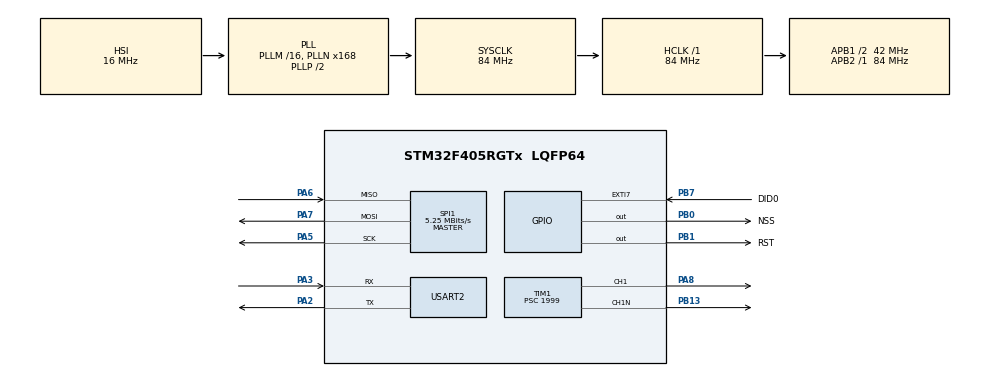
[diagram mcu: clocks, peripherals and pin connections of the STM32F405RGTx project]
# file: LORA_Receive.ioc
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Mcu.Family=STM32F4
Mcu.Name=STM32F405RGTx
Mcu.Package=LQFP64
NVIC.EXTI9_5_IRQn=true\:0\:0\:false\:false\:true\:true\:true\:true
NVIC.PriorityGroup=NVIC_PRIORITYGROUP_4
NVIC.USART2_IRQn=true\:1\:0\:true\:false\:true\:true\:true\:true
PA13.Mode=Serial_Wire
PA13.Signal=SYS_JTMS-SWDIO
PA14.Mode=Serial_Wire
PA14.Signal=SYS_JTCK-SWCLK
PA2.Mode=Asynchronous
PA2.Signal=USART2_TX
PA3.Mode=Asynchronous
PA3.Signal=USART2_RX
PA5.Mode=Full_Duplex_Master
PA5.Signal=SPI1_SCK
PA6.Mode=Full_Duplex_Master
PA6.Signal=SPI1_MISO
PA7.Mode=Full_Duplex_Master
PA7.Signal=SPI1_MOSI
PA8.Signal=S_TIM1_CH1
PB0.GPIO_Label=NSS
PB0.PinState=GPIO_PIN_SET
PB0.Signal=GPIO_Output
PB1.GPIO_Label=RST
PB1.PinState=GPIO_PIN_SET
PB1.Signal=GPIO_Output
PB13.Mode=PWM Generation1 CH1 CH1N
PB13.Signal=TIM1_CH1N
PB7.GPIO_Label=DID0
PB7.Signal=GPXTI7
PH0-OSC_IN.Mode=HSE-External-Oscillator
PH0-OSC_IN.Signal=RCC_OSC_IN
PH1-OSC_OUT.Mode=HSE-External-Oscillator
PH1-OSC_OUT.Signal=RCC_OSC_OUT
ProjectManager.HeapSize=0x200
ProjectManager.StackSize=0x400
ProjectManager.TargetToolchain=STM32CubeIDE
RCC.48MHZClocksFreq_Value=42000000
RCC.AHBFreq_Value=84000000
RCC.APB1CLKDivider=RCC_HCLK_DIV2
RCC.APB1Freq_Value=42000000
RCC.APB1TimFreq_Value=84000000
RCC.APB2Freq_Value=84000000
RCC.APB2TimFreq_Value=84000000
RCC.CortexFreq_Value=84000000
RCC.HCLKFreq_Value=84000000
RCC.HSE_VALUE=25000000
RCC.HSI_VALUE=16000000
RCC.LSE_VALUE=32768
RCC.PLLN=168
RCC.SYSCLKFreq_VALUE=84000000
RCC.SYSCLKSource=RCC_SYSCLKSOURCE_PLLCLK
RCC.VCOOutputFreq_Value=168000000
SH.S_TIM1_CH1.0=TIM1_CH1,PWM Generation1 CH1 CH1N
SPI1.BaudRatePrescaler=SPI_BAUDRATEPRESCALER_16
SPI1.CRCCalculation=SPI_CRCCALCULATION_DISABLE
SPI1.CalculateBaudRate=5.25 MBits/s
SPI1.Direction=SPI_DIRECTION_2LINES
SPI1.Mode=SPI_MODE_MASTER
SPI1.VirtualType=VM_MASTER
TIM1.AutoReloadPreload=TIM_AUTORELOAD_PRELOAD_ENABLE
TIM1.AutomaticOutput=TIM_AUTOMATICOUTPUT_ENABLE
TIM1.Channel-PWM\ Generation1\ CH1\ CH1N=TIM_CHANNEL_1
TIM1.DeadTime=100
TIM1.Period=41999
TIM1.Prescaler=1999
USART2.VirtualMode=VM_ASYNC
VP_TIM1_VS_ClockSourceINT.Mode=Internal
board=custom

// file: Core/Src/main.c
/* USER CODE BEGIN Header */
/**
  ******************************************************************************
  * @file           : main.c
  * @brief          : Main program body
  ******************************************************************************
  * @attention
  *
  * Copyright (c) 2026 STMicroelectronics.
  * All rights reserved.
  *
  * This software is licensed under terms that can be found in the LICENSE file
  * in the root directory of this software component.
  * If no LICENSE file comes with this software, it is provided AS-IS.
  *
  ******************************************************************************
  */
/* USER CODE END Header */
#include "main.h"

/* USER CODE BEGIN Includes */
#include "LoRa.h"
#include <stdio.h>
#include <string.h>
/* USER CODE END Includes */

SPI_HandleTypeDef hspi1;

TIM_HandleTypeDef htim1;

UART_HandleTypeDef huart2;

/* USER CODE BEGIN PV */
LoRa myLoRa;
uint8_t LoRa_stat=0;
uint8_t RxBuffer[3];
/* USER CODE END PV */

void SystemClock_Config(void);
static void MX_GPIO_Init(void);
static void MX_SPI1_Init(void);
static void MX_TIM1_Init(void);
static void MX_USART2_UART_Init(void);
/* USER CODE BEGIN PFP */
void CAN_Filter_Config(void);
uint8_t Compute_CRC8(uint8_t *, uint16_t);
/* USER CODE END PFP */

/* USER CODE BEGIN 0 */
// Timing and Safety
uint32_t last_signal_time = 0,Tick;
#define FAILSAFE_TIMEOUT 6000 // 10 minutes in milliseconds
#define MY_PUMP_ID 0x02

volatile uint8_t lora_rx_flag = 0;
volatile uint8_t uart_busy = 0;
void HAL_UART_TxCpltCallback(UART_HandleTypeDef *huart)
{
	if(huart->Instance == USART2)
	{
	    uart_busy = 0;
	}
}

/* USER CODE END 0 */

int main(void)
{

  /* MCU Configuration--------------------------------------------------------*/

  /* Reset of all peripherals, Initializes the Flash interface and the Systick. */
  HAL_Init();

  /* Configure the system clock */
  SystemClock_Config();

  /* Initialize all configured peripherals */
  MX_GPIO_Init();
  MX_SPI1_Init();
  MX_TIM1_Init();
  MX_USART2_UART_Init();
  /* USER CODE BEGIN 2 */
	  myLoRa = newLoRa();

	   myLoRa.CS_port         = NSS_GPIO_Port;
	   myLoRa.CS_pin          = NSS_Pin;
	   myLoRa.reset_port      = RST_GPIO_Port;
	   myLoRa.reset_pin       = RST_Pin;
	   myLoRa.DIO0_port       = DID0_GPIO_Port;
	   myLoRa.DIO0_pin        = DID0_Pin;
	   myLoRa.hSPIx           = &hspi1;

	   myLoRa.frequency             = 433;             // default = 433 MHz
	   myLoRa.spredingFactor        = SF_7;            // default = SF_7
	   myLoRa.bandWidth             = BW_31_25KHz;       // default = BW_125KHz
	   myLoRa.crcRate               = CR_4_5;          // default = CR_4_5
	   myLoRa.power                 = POWER_20db;      // default = 20db
	   myLoRa.overCurrentProtection = 130;             // default = 100 mA
	   myLoRa.preamble              = 9;              // default = 8;

     LoRa_reset(&myLoRa);
     if(LoRa_init(&myLoRa) == LORA_OK)
     {
         HAL_UART_Transmit(&huart2, (uint8_t*)"LoRa OK\r\n", 9, 100);
     }

     /*PWM Start */
     HAL_TIM_PWM_Start(&htim1, TIM_CHANNEL_1);

     LoRa_startReceiving(&myLoRa);
     last_signal_time = HAL_GetTick();

  /* USER CODE END 2 */

  /* Infinite loop */
  while (1)
  {
	  if(lora_rx_flag)
	  {
		  last_signal_time = HAL_GetTick(); // Refresh fail safe timer
		  lora_rx_flag = 0;

		  // Receive the 3 bytes: [SlaveID][DutyCycle][CRC]
		  LoRa_receive(&myLoRa, RxBuffer, 3);
		  LoRa_startReceiving(&myLoRa);

		  //  Verify Integrity with CRC
		  uint8_t received_crc = RxBuffer[2];
		  if (Compute_CRC8(RxBuffer, 2) == received_crc)
		  {
			  // Check if the ID matches this Slave
			  if(RxBuffer[0] == MY_PUMP_ID)
			  {
				  uint8_t duty_val = RxBuffer[1]; // The 0-100 value from Master

				  // PWM APPLY ---
				  // Maps 0-100 to your Timer Period (41999)

				  uint32_t pulse = (uint32_t)((duty_val * 41999) / 100);
				  __HAL_TIM_SET_COMPARE(&htim1, TIM_CHANNEL_1, pulse);

					//  Telemetry Logging
				  int rssi = LoRa_getRSSI(&myLoRa);
				  if(!uart_busy)
				  {
					  char msg[50];
					  sprintf(msg, "[SLAVE] Valid Command: RSSI: %d dBm\r\n", rssi);
					  HAL_UART_Transmit(&huart2, (uint8_t*)msg, strlen(msg), 100);
				  }
				  // --- 2. UART DISPLAY ---
				  if(!uart_busy)
				  {
					  char msg[40];
					  sprintf(msg, "Duty Cycle of PUMP: %d%% Turn ON\r\n", duty_val);
					  HAL_UART_Transmit(&huart2, (uint8_t*)msg, strlen(msg), 100);
				  }
			  }
		  }
		  else
		  {
			  if(!uart_busy)
			  {
				  char msg[50];
				  sprintf(msg, "[SLAVE] CRC Error! Corrupted packet ignored.\r\n");
				  HAL_UART_Transmit(&huart2, (uint8_t*)msg, strlen(msg), 100);
			  }
		  }
	  }
	  Tick=HAL_GetTick();
	  // 6. Fail safe Safety Logic
	  if(HAL_GetTick() - last_signal_time > FAILSAFE_TIMEOUT)
	  {
		  __HAL_TIM_SET_COMPARE(&htim1, TIM_CHANNEL_1, 0); // Force Pump OFF
		  if(!uart_busy)
		  {
			  char msg[50];
			  sprintf(msg, "Force Pump OFF For Safety Logic\r\n");
			  HAL_UART_Transmit(&huart2, (uint8_t*)msg, strlen(msg), 100);
		  }
	  }
  }
}

void SystemClock_Config(void)
{
  RCC_OscInitTypeDef RCC_OscInitStruct = {0};
  RCC_ClkInitTypeDef RCC_ClkInitStruct = {0};

  /** Configure the main internal regulator output voltage
  */
  __HAL_RCC_PWR_CLK_ENABLE();
  __HAL_PWR_VOLTAGESCALING_CONFIG(PWR_REGULATOR_VOLTAGE_SCALE1);

  /** Initializes the RCC Oscillators according to the specified parameters
  * in the RCC_OscInitTypeDef structure.
  */
  RCC_OscInitStruct.OscillatorType = RCC_OSCILLATORTYPE_HSI;
  RCC_OscInitStruct.HSIState = RCC_HSI_ON;
  RCC_OscInitStruct.HSICalibrationValue = RCC_HSICALIBRATION_DEFAULT;
  RCC_OscInitStruct.PLL.PLLState = RCC_PLL_ON;
  RCC_OscInitStruct.PLL.PLLSource = RCC_PLLSOURCE_HSI;
  RCC_OscInitStruct.PLL.PLLM = 16;
  RCC_OscInitStruct.PLL.PLLN = 168;
  RCC_OscInitStruct.PLL.PLLP = RCC_PLLP_DIV2;
  RCC_OscInitStruct.PLL.PLLQ = 4;
  if (HAL_RCC_OscConfig(&RCC_OscInitStruct) != HAL_OK)
  {
    Error_Handler();
  }

  /** Initializes the CPU, AHB and APB buses clocks
  */
  RCC_ClkInitStruct.ClockType = RCC_CLOCKTYPE_HCLK|RCC_CLOCKTYPE_SYSCLK
                              |RCC_CLOCKTYPE_PCLK1|RCC_CLOCKTYPE_PCLK2;
  RCC_ClkInitStruct.SYSCLKSource = RCC_SYSCLKSOURCE_PLLCLK;
  RCC_ClkInitStruct.AHBCLKDivider = RCC_SYSCLK_DIV1;
  RCC_ClkInitStruct.APB1CLKDivider = RCC_HCLK_DIV2;
  RCC_ClkInitStruct.APB2CLKDivider = RCC_HCLK_DIV1;

  if (HAL_RCC_ClockConfig(&RCC_ClkInitStruct, FLASH_LATENCY_2) != HAL_OK)
  {
    Error_Handler();
  }
}

static void MX_SPI1_Init(void)
{

  /* SPI1 parameter configuration*/
  hspi1.Instance = SPI1;
  hspi1.Init.Mode = SPI_MODE_MASTER;
  hspi1.Init.Direction = SPI_DIRECTION_2LINES;
  hspi1.Init.DataSize = SPI_DATASIZE_8BIT;
  hspi1.Init.CLKPolarity = SPI_POLARITY_LOW;
  hspi1.Init.CLKPhase = SPI_PHASE_1EDGE;
  hspi1.Init.NSS = SPI_NSS_SOFT;
  hspi1.Init.BaudRatePrescaler = SPI_BAUDRATEPRESCALER_16;
  hspi1.Init.FirstBit = SPI_FIRSTBIT_MSB;
  hspi1.Init.TIMode = SPI_TIMODE_DISABLE;
  hspi1.Init.CRCCalculation = SPI_CRCCALCULATION_DISABLE;
  hspi1.Init.CRCPolynomial = 10;
  if (HAL_SPI_Init(&hspi1) != HAL_OK)
  {
    Error_Handler();
  }

}

static void MX_TIM1_Init(void)
{

  TIM_ClockConfigTypeDef sClockSourceConfig = {0};
  TIM_MasterConfigTypeDef sMasterConfig = {0};
  TIM_OC_InitTypeDef sConfigOC = {0};
  TIM_BreakDeadTimeConfigTypeDef sBreakDeadTimeConfig = {0};

  htim1.Instance = TIM1;
  htim1.Init.Prescaler = 1999;
  htim1.Init.CounterMode = TIM_COUNTERMODE_UP;
  htim1.Init.Period = 41999;
  htim1.Init.ClockDivision = TIM_CLOCKDIVISION_DIV1;
  htim1.Init.RepetitionCounter = 0;
  htim1.Init.AutoReloadPreload = TIM_AUTORELOAD_PRELOAD_ENABLE;
  if (HAL_TIM_Base_Init(&htim1) != HAL_OK)
  {
    Error_Handler();
  }
  sClockSourceConfig.ClockSource = TIM_CLOCKSOURCE_INTERNAL;
  if (HAL_TIM_ConfigClockSource(&htim1, &sClockSourceConfig) != HAL_OK)
  {
    Error_Handler();
  }
  if (HAL_TIM_PWM_Init(&htim1) != HAL_OK)
  {
    Error_Handler();
  }
  sMasterConfig.MasterOutputTrigger = TIM_TRGO_RESET;
  sMasterConfig.MasterSlaveMode = TIM_MASTERSLAVEMODE_DISABLE;
  if (HAL_TIMEx_MasterConfigSynchronization(&htim1, &sMasterConfig) != HAL_OK)
  {
    Error_Handler();
  }
  sConfigOC.OCMode = TIM_OCMODE_PWM1;
  sConfigOC.Pulse = 0;
  sConfigOC.OCPolarity = TIM_OCPOLARITY_HIGH;
  sConfigOC.OCNPolarity = TIM_OCNPOLARITY_HIGH;
  sConfigOC.OCFastMode = TIM_OCFAST_DISABLE;
  sConfigOC.OCIdleState = TIM_OCIDLESTATE_RESET;
  sConfigOC.OCNIdleState = TIM_OCNIDLESTATE_RESET;
  if (HAL_TIM_PWM_ConfigChannel(&htim1, &sConfigOC, TIM_CHANNEL_1) != HAL_OK)
  {
    Error_Handler();
  }
  sBreakDeadTimeConfig.OffStateRunMode = TIM_OSSR_DISABLE;
  sBreakDeadTimeConfig.OffStateIDLEMode = TIM_OSSI_DISABLE;
  sBreakDeadTimeConfig.LockLevel = TIM_LOCKLEVEL_OFF;
  sBreakDeadTimeConfig.DeadTime = 100;
  sBreakDeadTimeConfig.BreakState = TIM_BREAK_DISABLE;
  sBreakDeadTimeConfig.BreakPolarity = TIM_BREAKPOLARITY_HIGH;
  sBreakDeadTimeConfig.AutomaticOutput = TIM_AUTOMATICOUTPUT_ENABLE;
  if (HAL_TIMEx_ConfigBreakDeadTime(&htim1, &sBreakDeadTimeConfig) != HAL_OK)
  {
    Error_Handler();
  }
  HAL_TIM_MspPostInit(&htim1);

}

static void MX_USART2_UART_Init(void)
{

  huart2.Instance = USART2;
  huart2.Init.BaudRate = 115200;
  huart2.Init.WordLength = UART_WORDLENGTH_8B;
  huart2.Init.StopBits = UART_STOPBITS_1;
  huart2.Init.Parity = UART_PARITY_NONE;
  huart2.Init.Mode = UART_MODE_TX_RX;
  huart2.Init.HwFlowCtl = UART_HWCONTROL_NONE;
  huart2.Init.OverSampling = UART_OVERSAMPLING_16;
  if (HAL_UART_Init(&huart2) != HAL_OK)
  {
    Error_Handler();
  }

}

static void MX_GPIO_Init(void)
{
  GPIO_InitTypeDef GPIO_InitStruct = {0};

  /* GPIO Ports Clock Enable */
  __HAL_RCC_GPIOH_CLK_ENABLE();
  __HAL_RCC_GPIOA_CLK_ENABLE();
  __HAL_RCC_GPIOB_CLK_ENABLE();

  /*Configure GPIO pin Output Level */
  HAL_GPIO_WritePin(GPIOB, NSS_Pin|RST_Pin, GPIO_PIN_SET);

  /*Configure GPIO pins : NSS_Pin RST_Pin */
  GPIO_InitStruct.Pin = NSS_Pin|RST_Pin;
  GPIO_InitStruct.Mode = GPIO_MODE_OUTPUT_PP;
  GPIO_InitStruct.Pull = GPIO_NOPULL;
  GPIO_InitStruct.Speed = GPIO_SPEED_FREQ_LOW;
  HAL_GPIO_Init(GPIOB, &GPIO_InitStruct);

  /*Configure GPIO pin : DID0_Pin */
  GPIO_InitStruct.Pin = DID0_Pin;
  GPIO_InitStruct.Mode = GPIO_MODE_IT_RISING;
  GPIO_InitStruct.Pull = GPIO_NOPULL;
  HAL_GPIO_Init(DID0_GPIO_Port, &GPIO_InitStruct);

  /* EXTI interrupt init*/
  HAL_NVIC_SetPriority(EXTI9_5_IRQn, 0, 0);
  HAL_NVIC_EnableIRQ(EXTI9_5_IRQn);

}

/* USER CODE BEGIN 4 */
void HAL_GPIO_EXTI_Callback(uint16_t GPIO_Pin)
{
	if(GPIO_Pin == myLoRa.DIO0_pin)
	{
		lora_rx_flag = 1;
	}
}

// Software CRC-8 (Dallas/Maxim)
uint8_t Compute_CRC8(uint8_t *data, uint16_t length)
{
    uint8_t crc = 0x00;
    for (uint16_t i = 0; i < length; i++) {
        crc ^= data[i];
        for (uint8_t j = 0; j < 8; j++) {
            if (crc & 0x80) crc = (crc << 1) ^ 0x07;
            else crc <<= 1;
        }
    }
    return crc;
}

/* USER CODE END 4 */

void Error_Handler(void)
{
  __disable_irq();
  while (1)
  {
  }
}
